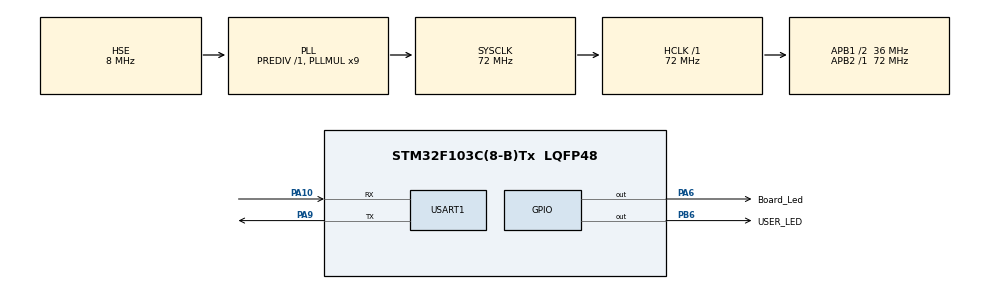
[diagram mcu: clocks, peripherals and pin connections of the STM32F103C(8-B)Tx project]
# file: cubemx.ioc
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Mcu.Family=STM32F1
Mcu.Name=STM32F103C(8-B)Tx
Mcu.Package=LQFP48
NVIC.PriorityGroup=NVIC_PRIORITYGROUP_4
NVIC.TIM1_UP_IRQn=true\:15\:0\:false\:false\:true\:false\:true\:true
NVIC.TimeBase=TIM1_UP_IRQn
NVIC.TimeBaseIP=TIM1
PA10.Mode=Asynchronous
PA10.Signal=USART1_RX
PA13.Mode=Serial_Wire
PA13.Signal=SYS_JTMS-SWDIO
PA14.Mode=Serial_Wire
PA14.Signal=SYS_JTCK-SWCLK
PA6.GPIO_Label=Board_Led
PA6.Signal=GPIO_Output
PA9.Mode=Asynchronous
PA9.Signal=USART1_TX
PB6.GPIO_Label=USER_LED
PB6.Signal=GPIO_Output
PD0-OSC_IN.Mode=HSE-External-Oscillator
PD0-OSC_IN.Signal=RCC_OSC_IN
PD1-OSC_OUT.Mode=HSE-External-Oscillator
PD1-OSC_OUT.Signal=RCC_OSC_OUT
ProjectManager.HeapSize=0x200
ProjectManager.StackSize=0x400
ProjectManager.TargetToolchain=Makefile
RCC.AHBFreq_Value=72000000
RCC.APB1CLKDivider=RCC_HCLK_DIV2
RCC.APB1Freq_Value=36000000
RCC.APB1TimFreq_Value=72000000
RCC.APB2Freq_Value=72000000
RCC.APB2TimFreq_Value=72000000
RCC.HCLKFreq_Value=72000000
RCC.PLLMUL=RCC_PLL_MUL9
RCC.PLLSourceVirtual=RCC_PLLSOURCE_HSE
RCC.SYSCLKFreq_VALUE=72000000
RCC.SYSCLKSource=RCC_SYSCLKSOURCE_PLLCLK
RCC.USBFreq_Value=72000000
USART1.VirtualMode=VM_ASYNC
VP_SYS_VS_tim1.Mode=TIM1
board=custom

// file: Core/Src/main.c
/* USER CODE BEGIN Header */
/**
 ******************************************************************************
 * @file           : main.c
 * @brief          : Main program body
 ******************************************************************************
 * @attention
 *
 * Copyright (c) 2023 STMicroelectronics.
 * All rights reserved.
 *
 * This software is licensed under terms that can be found in the LICENSE file
 * in the root directory of this software component.
 * If no LICENSE file comes with this software, it is provided AS-IS.
 *
 ******************************************************************************
 */
/* USER CODE END Header */
#include "main.h"
#include "usart.h"
#include "gpio.h"

/* USER CODE BEGIN PD */

#define ENABLE_INT() __set_PRIMASK(0)  // 使能全局中断
#define DISABLE_INT() __set_PRIMASK(1) // 关闭全局中断
/* USER CODE END PD */

void SystemClock_Config(void);
/* USER CODE BEGIN PFP */
static void JumpToBootloader(__IO uint32_t jump_addr);
/* USER CODE END PFP */

int main(void)
{

  /* MCU Configuration--------------------------------------------------------*/

  /* Reset of all peripherals, Initializes the Flash interface and the Systick. */
  HAL_Init();

  /* Configure the system clock */
  SystemClock_Config();

  /* Initialize all configured peripherals */
  MX_GPIO_Init();
  MX_USART1_UART_Init();

  HAL_GPIO_WritePin(Board_Led_GPIO_Port, Board_Led_Pin, GPIO_PIN_RESET);
  HAL_Delay(1000);
  HAL_GPIO_WritePin(Board_Led_GPIO_Port, Board_Led_Pin, GPIO_PIN_SET);
  HAL_Delay(1000);
  HAL_GPIO_WritePin(Board_Led_GPIO_Port, Board_Led_Pin, GPIO_PIN_RESET);
  HAL_Delay(1000);
  HAL_GPIO_WritePin(Board_Led_GPIO_Port, Board_Led_Pin, GPIO_PIN_SET);
  HAL_Delay(1000);
  HAL_GPIO_WritePin(Board_Led_GPIO_Port, Board_Led_Pin, GPIO_PIN_RESET);
  HAL_Delay(1000);
  HAL_GPIO_WritePin(Board_Led_GPIO_Port, Board_Led_Pin, GPIO_PIN_SET);
  HAL_Delay(1000);

  /* Infinite loop */
  while (1)
  {

    /* USER CODE BEGIN 3 */
    JumpToBootloader(0x08002000);
    HAL_Delay(1);
  }
  /* USER CODE END 3 */
}

void SystemClock_Config(void)
{
  RCC_OscInitTypeDef RCC_OscInitStruct = {0};
  RCC_ClkInitTypeDef RCC_ClkInitStruct = {0};

  /** Initializes the RCC Oscillators according to the specified parameters
   * in the RCC_OscInitTypeDef structure.
   */
  RCC_OscInitStruct.OscillatorType = RCC_OSCILLATORTYPE_HSE;
  RCC_OscInitStruct.HSEState = RCC_HSE_ON;
  RCC_OscInitStruct.HSEPredivValue = RCC_HSE_PREDIV_DIV1;
  RCC_OscInitStruct.HSIState = RCC_HSI_ON;
  RCC_OscInitStruct.PLL.PLLState = RCC_PLL_ON;
  RCC_OscInitStruct.PLL.PLLSource = RCC_PLLSOURCE_HSE;
  RCC_OscInitStruct.PLL.PLLMUL = RCC_PLL_MUL9;
  if (HAL_RCC_OscConfig(&RCC_OscInitStruct) != HAL_OK)
  {
    Error_Handler();
  }

  /** Initializes the CPU, AHB and APB buses clocks
   */
  RCC_ClkInitStruct.ClockType = RCC_CLOCKTYPE_HCLK | RCC_CLOCKTYPE_SYSCLK | RCC_CLOCKTYPE_PCLK1 | RCC_CLOCKTYPE_PCLK2;
  RCC_ClkInitStruct.SYSCLKSource = RCC_SYSCLKSOURCE_PLLCLK;
  RCC_ClkInitStruct.AHBCLKDivider = RCC_SYSCLK_DIV1;
  RCC_ClkInitStruct.APB1CLKDivider = RCC_HCLK_DIV2;
  RCC_ClkInitStruct.APB2CLKDivider = RCC_HCLK_DIV1;

  if (HAL_RCC_ClockConfig(&RCC_ClkInitStruct, FLASH_LATENCY_2) != HAL_OK)
  {
    Error_Handler();
  }
}

/* USER CODE BEGIN 4 */
static void JumpToBootloader(__IO uint32_t jump_addr)
{
  uint32_t i = 0;
  void (*SysMemBootJump)(void);        /* 声明一个指针函数 */
  __IO uint32_t BootAddr = jump_addr; /* App程序的Flash地址 */

  /* 关闭全局中断 */
  DISABLE_INT();

  /* 关闭滴答定时器，复位到默认值 */
  SysTick->CTRL = 0;
  SysTick->LOAD = 0;
  SysTick->VAL = 0;

  /* 设置所有时钟到默认状态，使用HSI时钟 */
  HAL_RCC_DeInit();

  /* 关闭所有中断，清除所有中断挂起标志 */
  for (i = 0; i < 0; i++)
  {
    NVIC->ICER[i] = 0xFFFFFFFF;
    NVIC->ICPR[i] = 0xFFFFFFFF;
  }

  /* 使能全局中断 */
  ENABLE_INT();

  /* 跳转到系统Bootloader，首地址是MSP，地址+4是复位中断服务函数地址 */
  SysMemBootJump = (void (*)(void))(*((uint32_t *)(BootAddr + 4)));

  /* 设置主堆栈指针 */
  __set_MSP(*(uint32_t *)BootAddr);

  /* 在RTOS工程，这条语句很重要，设置为特权级模式，使用MSP指针 */
  __set_CONTROL(0);

  /* 跳转到系统BootLoader */
  SysMemBootJump();
  while (1) /* 跳转成功则不会执行到这里 */
  {
    /* code */
  }
}
/* USER CODE END 4 */

void HAL_TIM_PeriodElapsedCallback(TIM_HandleTypeDef *htim)
{
  if (htim->Instance == TIM1)
  {
    HAL_IncTick();
  }
}

void Error_Handler(void)
{
  __disable_irq();
  while (1)
  {
  }
}
